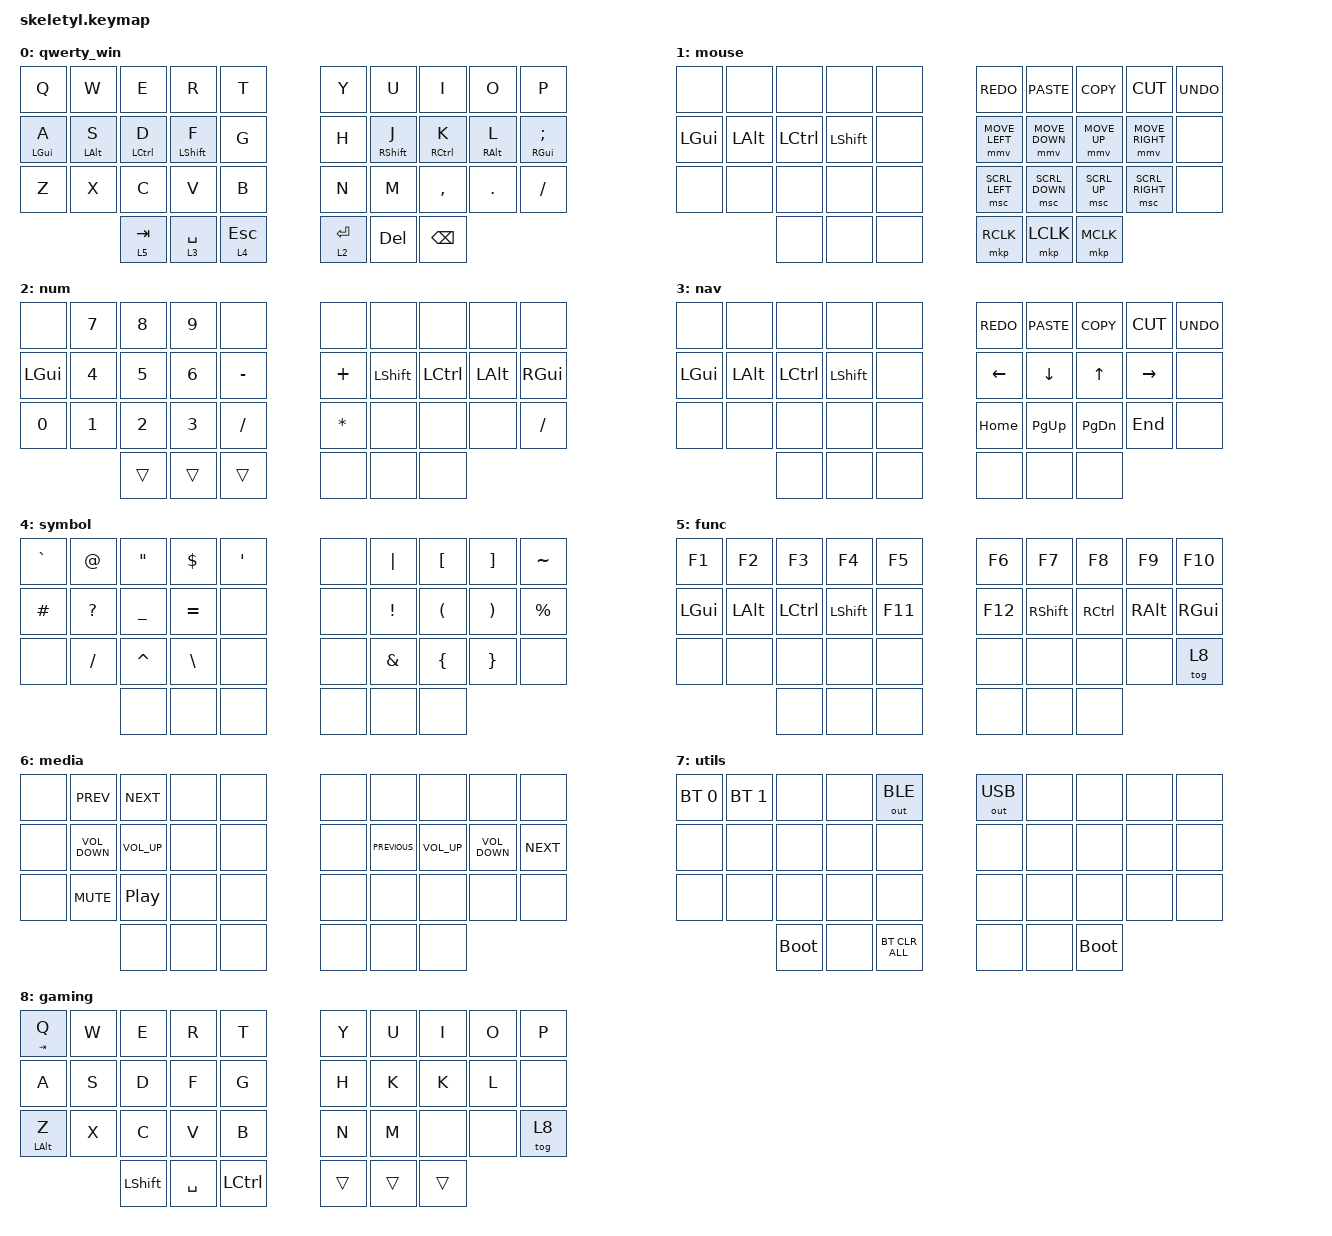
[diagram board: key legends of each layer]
#include <behaviors.dtsi>
#include <dt-bindings/zmk/bt.h>
#include <dt-bindings/zmk/keys.h>
#include <dt-bindings/zmk/outputs.h>
#include <dt-bindings/zmk/pointing.h>

/ {
    behaviors {
        hm: homerow_mods {
            compatible = "zmk,behavior-hold-tap";
            label = "HOMEROW_MODS";
            #binding-cells = <2>;
            tapping-term-ms = <200>;
            quick-tap-ms = <0>;
            flavor = "balanced";
            bindings = <&kp>, <&kp>;
        };

        hmp: homerow_mods_pinky {
            compatible = "zmk,behavior-hold-tap";
            label = "HOMEROW_MODS_PINKY";
            #binding-cells = <2>;
            tapping-term-ms = <250>;
            quick-tap-ms = <0>;
            flavor = "tap-preferred";
            bindings = <&kp>, <&kp>;
        };
    };

    combos {
        compatible = "zmk,combos";

        to_utils {
            bindings = <&tog 7>;
            key-positions = <10 20 19 29>;
            layers = <0 7>;
        };
    };

    macros {
        equals_m: equalsMacro {
            compatible = "zmk,behavior-macro";
            #binding-cells = <0>;
            bindings = <&kp EQUAL &kp EQUAL>;
            label = "EQUALSMACRO";
        };
    };

    keymap {
        compatible = "zmk,keymap";

        qwerty_win {
            bindings = <
&kp Q            &kp W           &kp E               &kp R             &kp T       &kp Y          &kp U              &kp I                &kp O            &kp P
&hmp LEFT_GUI A  &hm LEFT_ALT S  &hm LEFT_CONTROL D  &hm LEFT_SHIFT F  &kp G       &kp H          &hm RIGHT_SHIFT J  &hm RIGHT_CONTROL K  &hm RIGHT_ALT L  &hmp RIGHT_GUI SEMICOLON
&kp Z            &kp X           &kp C               &kp V             &kp B       &kp N          &kp M              &kp COMMA            &kp DOT          &kp SLASH
&lt 5 TAB        &lt 3 SPACE     &lt 4 ESCAPE        &lt 2 ENTER       &kp DELETE  &kp BACKSPACE
            >;
        };

        mouse {
            bindings = <
&none     &none     &none      &none      &none      &kp K_REDO      &kp K_PASTE     &kp K_COPY    &kp K_CUT        &kp K_UNDO
&kp LGUI  &kp LALT  &kp LCTRL  &kp LSHFT  &none      &mmv MOVE_LEFT  &mmv MOVE_DOWN  &mmv MOVE_UP  &mmv MOVE_RIGHT  &none
&none     &none     &none      &none      &none      &msc SCRL_LEFT  &msc SCRL_DOWN  &msc SCRL_UP  &msc SCRL_RIGHT  &none
&none     &none     &none      &mkp RCLK  &mkp LCLK  &mkp MCLK
            >;
        };

        num {
            bindings = <
&none     &kp N7  &kp N8  &kp N9  &none      &none         &none      &none      &none     &none
&kp LGUI  &kp N4  &kp N5  &kp N6  &kp MINUS  &kp PLUS      &kp LSHFT  &kp LCTRL  &kp LALT  &kp RIGHT_GUI
&kp N0    &kp N1  &kp N2  &kp N3  &kp SLASH  &kp ASTERISK  &none      &none      &none     &kp SLASH
&trans    &trans  &trans  &none   &none      &none
            >;
        };

        nav {
            bindings = <
&none     &none     &none      &none      &none  &kp K_REDO      &kp K_PASTE     &kp K_COPY     &kp K_CUT  &kp K_UNDO
&kp LGUI  &kp LALT  &kp LCTRL  &kp LSHFT  &none  &kp LEFT_ARROW  &kp DOWN_ARROW  &kp UP_ARROW   &kp RIGHT  &none
&none     &none     &none      &none      &none  &kp HOME        &kp PAGE_UP     &kp PAGE_DOWN  &kp END    &none
&none     &none     &none      &none      &none  &none
            >;
        };

        symbol {
            bindings = <
&kp GRAVE  &kp AT_SIGN   &kp DOUBLE_QUOTES  &kp DOLLAR     &kp SQT  &none  &kp PIPE         &kp LEFT_BRACKET      &kp RIGHT_BRACKET      &kp TILDE
&kp HASH   &kp QUESTION  &kp UNDERSCORE     &kp EQUAL      &none    &none  &kp EXCLAMATION  &kp LEFT_PARENTHESIS  &kp RIGHT_PARENTHESIS  &kp PERCENT
&none      &kp SLASH     &kp CARET          &kp BACKSLASH  &none    &none  &kp AMPERSAND    &kp LEFT_BRACE        &kp RIGHT_BRACE        &none
&none      &none         &none              &none          &none    &none
            >;
        };

        func {
            bindings = <
&kp F1    &kp F2    &kp F3     &kp F4     &kp F5   &kp F6   &kp F7     &kp F8     &kp F9    &kp F10
&kp LGUI  &kp LALT  &kp LCTRL  &kp LSHFT  &kp F11  &kp F12  &kp RSHFT  &kp RCTRL  &kp RALT  &kp RGUI
&none     &none     &none      &none      &none    &none    &none      &none      &none     &tog 8
&none     &none     &none      &none      &none    &none
            >;
        };

        media {
            bindings = <
&none  &kp C_PREV         &kp C_NEXT        &none  &none  &none  &none           &none            &none              &none
&none  &kp C_VOLUME_DOWN  &kp C_VOLUME_UP   &none  &none  &none  &kp C_PREVIOUS  &kp C_VOLUME_UP  &kp C_VOLUME_DOWN  &kp C_NEXT
&none  &kp C_MUTE         &kp C_PLAY_PAUSE  &none  &none  &none  &none           &none            &none              &none
&none  &none              &none             &none  &none  &none
            >;
        };

        utils {
            bindings = <
&bt BT_SEL 0  &bt BT_SEL 1  &none           &none  &out OUT_BLE  &out OUT_USB  &none  &none  &none  &none
&none         &none         &none           &none  &none         &none         &none  &none  &none  &none
&none         &none         &none           &none  &none         &none         &none  &none  &none  &none
&bootloader   &none         &bt BT_CLR_ALL  &none  &none         &bootloader
            >;
        };

        gaming {
            bindings = <
&mt TAB Q       &kp W      &kp E      &kp R   &kp T   &kp Y   &kp U  &kp I  &kp O  &kp P
&kp A           &kp S      &kp D      &kp F   &kp G   &kp H   &kp K  &kp K  &kp L  &none
&mt LEFT_ALT Z  &kp X      &kp C      &kp V   &kp B   &kp N   &kp M  &none  &none  &tog 8
&kp LEFT_SHIFT  &kp SPACE  &kp LCTRL  &trans  &trans  &trans
            >;
        };
    };

    conditional_layers { compatible = "zmk,conditional-layers"; };
};
